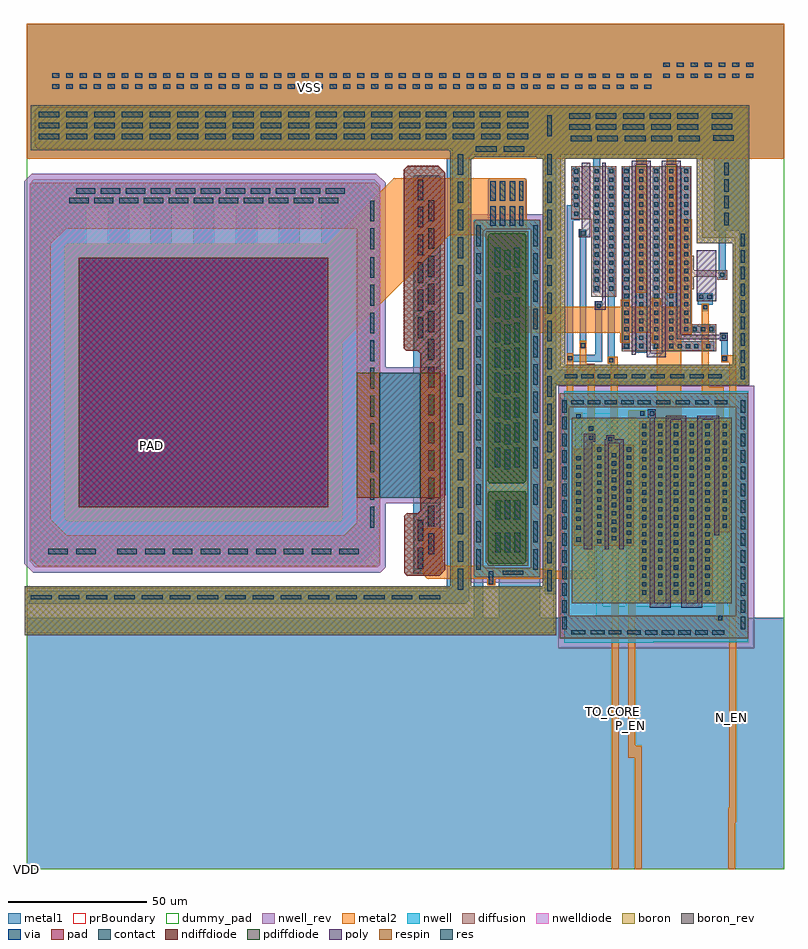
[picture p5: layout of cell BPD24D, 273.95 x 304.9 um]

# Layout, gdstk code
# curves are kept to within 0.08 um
import gdstk
lib = gdstk.Library(unit=1e-6, precision=1e-09)
def R(c, l, rs):  # rectangles x0, y0, x1, y1
    for r in rs: c.add(gdstk.rectangle(r[:2], r[2:], *l))
def A(c, l, x, y, w, h, nx, ny, dx, dy):  # array of equal rectangles
    R(c, l, [(x+i*dx, y+j*dy, x+i*dx+w, y+j*dy+h) for i in range(nx) for j in range(ny)])
def P(c, l, *ps):  # polygons
    for p in ps: c.add(gdstk.Polygon(p, *l))
nwell = (1, 0)
diffusion = (2, 0)
nwell_rev = (3, 0)
poly = (4, 0)
boron = (5, 0)
boron_rev = (6, 0)
contact = (7, 0)
metal1 = (8, 0)
via = (9, 0)
metal2 = (10, 0)
pad = (11, 0)
prBoundary = (28, 0)
res = (35, 0)
respin = (36, 0)
pdiffdiode = (37, 0)
nwelldiode = (38, 0)
ndiffdiode = (39, 0)
dummy_pad = (40, 0)

bpd24d = lib.new_cell('BPD24D')
P(bpd24d, nwell, [(161.5,105.25),(161.15,105.6),(161.15,233.95),(161.45,234.25),(185,234.25),(185.15,234.1),(185.15,105.6),(184.8,105.25)],
  [(3.15,108.95),(1.05,111.05),(1.05,247.25),(2.6,248.8),(125.25,248.8),(127.4,246.65),(127.4,179.652),(128.002,179.05),(147.45,179.05),(149.1,177.4),(149.1,135.7),(147.45,134.05),(128.058,134.05),(127.45,133.442),(127.45,109.75),(126.65,108.95)],
  [(193.7,81.7),(193.7,172.3),(260.2,172.3),(260.2,81.8),(225.95,81.8),(225.95,81.7)])
P(bpd24d, diffusion, [(192.1,83.4),(192.1,87.2),(192.15,87.2),(192.15,171.6),(255.65,171.6),(255.65,166.6),(195.65,166.6),(195.65,91.4),(255.65,91.4),(255.65,171.6),(260.2,171.6),(260.2,83.4)],
  [(3.95,109.3),(1.05,112.2),(1.05,246.563),(2.037,247.55),(119,247.55),(119,231),(14.214,231),(8.7,225.486),(8.7,126.204),(14.404,120.5),(114.449,120.5),(119,125.051),(119,247.55),(125.563,247.55),(127.35,245.763),(127.35,109.952),(126.698,109.3)],
  [(137.101,105.95),(136.1,106.951),(136.1,127.549),(136.951,128.4),(140.987,128.4),(141.85,129.263),(141.85,185.999),(140.849,187),(136.906,187),(136,187.906),(136,252.285),(137.365,253.65),(148.4,253.65),(150.9,251.15),(150.9,108.002),(148.848,105.95)],
  [(162.101,105.25),(161.15,106.201),(161.15,233.344),(162.056,234.25),(181.65,234.25),(181.65,230.75),(165.536,230.75),(164.65,229.864),(164.65,109.515),(165.415,108.75),(181.395,108.75),(181.65,109.005),(181.65,234.25),(184.95,234.25),(185.15,234.05),(185.15,106.052),(184.348,105.25)],
  [(0,85.15),(0,101.45),(153.45,101.45),(153.45,259.248),(152.848,259.85),(3.814,259.85),(2.85,260.814),(2.85,273.45),(4.05,274.65),(186.75,274.65),(186.75,257.65),(160.704,257.65),(159.55,256.496),(159.552,101.45),(186.295,101.45),(186.75,101.905),(186.75,274.65),(188.9,274.65),(190.25,273.3),(190.25,85.15)],
  [(220.9,96.6),(220.9,161.6),(253.4,161.6),(253.4,121.6),(247.4,121.6),(247.4,96.6)],
  [(167.105,110.25),(166.15,111.205),(166.15,135.6),(166.8,136.25),(179.65,136.25),(180.15,135.75),(180.15,111.15),(179.25,110.25)],
  [(214.45,186.7),(214.45,253.45),(239.65,253.45),(239.65,221.2),(240.55,221.2),(240.55,216.05),(252.5,216.05),(252.5,212.55),(249,212.55),(249,213.55),(240.5,213.55),(240.5,209.1),(239.65,209.1),(239.65,196.45),(248.55,196.45),(248.55,186.7)],
  [(166.752,139.25),(166.15,139.852),(166.15,228.35),(167.05,229.25),(179.448,229.25),(180.15,228.548),(180.15,140.156),(179.244,139.25)],
  [(187.35,175.15),(187.35,178.1),(188.85,178.1),(188.85,257.65),(183.35,257.65),(183.35,274.65),(243.5,274.65),(243.5,257.65),(192.6,257.65),(192.6,181.15),(255.25,181.15),(255.25,227.65),(243.5,227.65),(243.5,274.65),(259.85,274.65),(259.85,175.15)],
  [(197.2,116.6),(197.2,151.6),(204.4,151.6),(204.4,153.1),(218.9,153.1),(218.9,116.6)],
  [(203.6,206.4),(203.6,234.4),(196.4,234.4),(196.4,253.4),(212.45,253.4),(212.45,206.4)])
P(bpd24d, nwell_rev, [(160.672,103.25),(159.15,104.772),(159.15,234.778),(160.622,236.25),(185.828,236.25),(187.15,234.928),(187.15,104.772),(185.628,103.25)],
  [(2.322,106.95),(-0.95,110.222),(-0.95,248.078),(1.772,250.8),(126.078,250.8),(129.4,247.478),(129.4,181.05),(148.278,181.05),(151.1,178.228),(151.1,134.872),(148.278,132.05),(129.45,132.05),(129.45,108.922),(127.478,106.95)],
  [(191.7,79.7),(191.7,174.3),(262.2,174.3),(262.2,79.8),(227.95,79.8),(227.95,79.7)])
R(bpd24d, poly, [(241.5,204.75,248.5,223.15)])
P(bpd24d, poly, [(224.6,94.3),(224.6,162.9),(223.9,162.9),(223.9,165.8),(226.85,165.8),(226.85,162.9),(226.4,162.9),(226.4,96.1),(230.3,96.1),(230.3,163.6),(237.8,163.6),(237.8,96.1),(241.7,96.1),(241.7,163.6),(249.7,163.6),(249.7,120.4),(247.9,120.4),(247.9,162.1),(243.5,162.1),(243.5,94.3),(236,94.3),(236,162.1),(232.1,162.1),(232.1,94.3)],
  [(223.55,184.7),(223.55,253.95),(219.65,253.95),(219.65,185.5),(218.15,185.5),(218.15,255.45),(225.05,255.45),(225.05,186.2),(228.95,186.2),(228.95,255.45),(235.85,255.45),(235.85,192.65),(249.8,192.65),(249.8,193.45),(252.75,193.45),(252.75,190.55),(249.8,190.55),(249.8,191.15),(234.35,191.15),(234.35,253.95),(230.45,253.95),(230.45,184.7)],
  [(208.3,115.4),(208.3,155),(208.85,155),(208.85,156.5),(211.8,156.5),(211.8,155),(215.2,155),(215.2,115.4),(213.7,115.4),(213.7,153.6),(209.8,153.6),(209.8,115.4)],
  [(200.9,115.4),(200.9,157),(204.9,157),(204.9,154.1),(203.9,154.1),(203.9,115.4)],
  [(199.1,227.8),(199.1,230.7),(200.1,230.7),(200.1,254.65),(203.1,254.65),(203.1,227.8)],
  [(204.75,201.75),(204.75,204.85),(207.55,204.85),(207.55,254.65),(208.75,254.65),(208.75,201.75)])
R(bpd24d, boron, [(196.5,95.9,254.2,162.85)])
P(bpd24d, boron, [(-0.7,84.45),(-0.7,102.15),(152.75,102.15),(152.75,258.6),(152.2,259.15),(1.4,259.15),(1.4,275.45),(186.05,275.45),(186.05,256.95),(161.451,256.95),(160.25,255.749),(160.25,102.15),(185.7,102.15),(186.05,102.5),(186.05,275.45),(190.95,275.45),(190.95,84.45)],
  [(166.6,109.55),(165.45,110.7),(165.45,229.5),(165.9,229.95),(180.85,229.95),(180.85,109.55)],
  [(187.35,174.45),(187.35,178.8),(189.95,178.8),(189.95,256.2),(183.85,256.2),(183.85,275.45),(241.6,275.45),(241.6,256.2),(194.15,256.2),(194.15,181.85),(254.55,181.85),(254.55,225.7),(241.6,225.7),(241.6,275.45),(260.55,275.45),(260.55,174.45)])
R(bpd24d, boron_rev, [(196.5,95.9,254.2,162.85)])
P(bpd24d, boron_rev, [(-0.7,84.45),(-0.7,102.15),(152.75,102.15),(152.75,258.6),(152.2,259.15),(1.4,259.15),(1.4,275.45),(186.05,275.45),(186.05,256.95),(161.451,256.95),(160.25,255.749),(160.25,102.15),(185.7,102.15),(186.05,102.5),(186.05,275.45),(190.95,275.45),(190.95,84.45)],
  [(166.6,109.55),(165.45,110.7),(165.45,229.5),(165.9,229.95),(180.85,229.95),(180.85,109.55)],
  [(187.35,174.45),(187.35,178.8),(189.95,178.8),(189.95,256.2),(183.85,256.2),(183.85,275.45),(241.6,275.45),(241.6,256.2),(194.15,256.2),(194.15,181.85),(254.55,181.85),(254.55,225.7),(241.6,225.7),(241.6,275.45),(260.55,275.45),(260.55,174.45)])
A(bpd24d, contact, 193.15, 86.6, 1.5, 4.5, 1, 14, 0, 6)
A(bpd24d, contact, 257.45, 86.6, 1.5, 4.5, 1, 14, 0, 6)
A(bpd24d, contact, 1.55, 97.3, 7.5, 1.5, 15, 1, 10, 0)
A(bpd24d, contact, 221.9, 99.1, 1.5, 1.5, 5, 3, 5.7, 3)
A(bpd24d, contact, 187.75, 100.35, 1.5, 7.5, 1, 16, 0, 10)
A(bpd24d, contact, 155.45, 100.85, 2, 7.5, 1, 3, 0, 10)
A(bpd24d, contact, 227.6, 108.1, 1.5, 1.5, 1, 6, 0, 9)
A(bpd24d, contact, 239, 108.1, 1.5, 1.5, 1, 6, 0, 9)
A(bpd24d, contact, 221.9, 111.1, 1.5, 1.5, 5, 2, 5.7, 3)
A(bpd24d, contact, 32.75, 113.55, 7, 2, 9, 1, 10, 0)
A(bpd24d, contact, 168.85, 114.4, 2, 7, 3, 2, 3.5, 11.75)
A(bpd24d, contact, 205.6, 117.6, 1.5, 1.5, 1, 12, 0, 3)
A(bpd24d, contact, 216.4, 117.6, 1.5, 1.5, 1, 12, 0, 3)
A(bpd24d, contact, 221.9, 120.1, 1.5, 1.5, 5, 2, 5.7, 3)
A(bpd24d, contact, 250.9, 123.1, 1.5, 1.5, 1, 13, 0, 3)
A(bpd24d, contact, 123.85, 123.25, 1.5, 7.5, 1, 10, 0, 10)
A(bpd24d, contact, 144.85, 123.65, 2, 7.5, 1, 12, 0, 10)
A(bpd24d, contact, 211, 127.6, 1.5, 1.5, 1, 3, 0, 3)
A(bpd24d, contact, 221.9, 129.1, 1.5, 1.5, 5, 2, 5.7, 3)
A(bpd24d, contact, 155.45, 130.35, 2, 7.5, 1, 13, 0, 10)
A(bpd24d, contact, 221.9, 138.1, 1.5, 1.5, 5, 2, 5.7, 3)
A(bpd24d, contact, 172.25, 144.25, 2, 7, 1, 9, 0, 9)
A(bpd24d, contact, 162.15, 144.65, 1.5, 7.5, 1, 9, 0, 10)
A(bpd24d, contact, 182.65, 144.65, 1.5, 7.5, 1, 9, 0, 10)
A(bpd24d, contact, 168.75, 145.05, 2, 7, 1, 9, 0, 9)
A(bpd24d, contact, 175.75, 145.05, 2, 7, 1, 9, 0, 9)
A(bpd24d, contact, 221.9, 147.1, 1.5, 1.5, 5, 2, 5.7, 3)
A(bpd24d, contact, 221.9, 156.1, 1.5, 1.5, 5, 2, 5.7, 3)
A(bpd24d, contact, 196.3, 167.6, 4.5, 1.5, 4, 1, 6, 0)
A(bpd24d, contact, 226.95, 167.6, 5, 1.5, 3, 1, 7, 0)
A(bpd24d, contact, 257.35, 176.7, 1.5, 4.5, 1, 9, 0, 6)
A(bpd24d, contact, 193.9, 177, 4.5, 1.5, 4, 1, 6, 0)
A(bpd24d, contact, 218.05, 177, 5, 1.5, 4, 1, 7, 0)
A(bpd24d, contact, 234.65, 187.85, 1.5, 1.5, 3, 1, 3, 0)
A(bpd24d, contact, 215.45, 187.95, 1.5, 1.5, 4, 2, 5.4, 6)
A(bpd24d, contact, 220.85, 190.95, 1.5, 1.5, 1, 3, 0, 6)
A(bpd24d, contact, 231.65, 190.95, 1.5, 1.5, 1, 3, 0, 6)
A(bpd24d, contact, 141.05, 191.45, 2, 7.5, 1, 5, 0, 10)
A(bpd24d, contact, 240.05, 193.95, 1.5, 1.5, 3, 1, 3, 0)
A(bpd24d, contact, 215.45, 199.95, 1.5, 1.5, 5, 4, 5.4, 6)
A(bpd24d, contact, 215.45, 208.95, 1.5, 1.5, 3, 4, 10.8, 6)
A(bpd24d, contact, 204.8, 211.9, 1.5, 1.5, 1, 14, 0, 3)
A(bpd24d, contact, 209.95, 211.9, 1.5, 1.5, 1, 14, 0, 3)
A(bpd24d, contact, 215.45, 223.95, 1.5, 1.5, 4, 2, 5.4, 6)
A(bpd24d, contact, 251.5, 232.25, 1.5, 4.5, 1, 4, 0, 6)
A(bpd24d, contact, 215.45, 232.95, 1.5, 1.5, 5, 7, 5.4, 3)
A(bpd24d, contact, 197.4, 238.8, 1.5, 1.5, 1, 5, 0, 3)
A(bpd24d, contact, 15.3, 240.05, 7, 2, 11, 1, 9, 0)
A(bpd24d, contact, 17.8, 243.55, 7, 2, 10, 1, 9, 0)
A(bpd24d, contact, 4.3, 263.15, 7.5, 2, 14, 3, 10, 4)
A(bpd24d, contact, 143.8, 263.15, 7.5, 2, 1, 3, 0, 4)
A(bpd24d, contact, 173.3, 263.15, 7.5, 2, 1, 3, 0, 4)
R(bpd24d, contact, [(222.9,84.65,227.4,86.15), (228.9,84.65,233.45,86.15), (234.95,84.65,239.45,86.15), (241.05,84.65,245.55,86.15), (247.05,84.65,251.55,86.15), (196.35,84.7,201.3,86.2), (203.3,84.7,208.3,86.2), (209.8,84.7,214.4,86.2), (171.55,106.25,179.05,107.75), (162.15,108,163.65,115.5), (182.65,108,184.15,115.5), (141.05,108.4,143.05,115.9), (7.85,113.55,14.85,115.55), (17.85,113.55,24.85,115.55), (162.15,118,163.65,125.5), (182.65,118,184.15,125.5), (198.2,118.2,199.7,119.7), (141.05,118.45,143.05,125.95), (211,118.6,212.5,120.1), (211,121.6,212.5,123.1), (198.2,122.4,199.7,123.9), (198.2,125.65,199.7,127.15), (198.2,128.85,199.7,130.35), (162.15,131.4,163.65,138.9), (182.65,131.4,184.15,138.9), (198.2,131.85,199.7,133.35), (198.2,135.05,199.7,136.55), (198.2,138.05,199.7,139.55), (211,139.6,212.5,141.1), (198.2,141.25,199.7,142.75), (211,142.6,212.5,144.1), (198.2,144.25,199.7,145.75), (198.2,147.45,199.7,148.95), (211,148.6,212.5,150.1), (209.6,154.3,211.1,155.8), (202.7,154.8,204.2,156.3), (224.65,163.6,226.15,165.1), (220.3,167.6,224.95,169.1), (247.95,167.6,252.55,169.1), (245.65,177,250.55,178.5), (245,187.85,246.5,189.35), (250.55,191.25,252.05,192.75), (237.05,196.95,238.55,198.45), (205.45,202.45,206.95,203.95), (242.4,205.7,243.9,207.2), (245.4,205.7,246.9,207.2), (204.8,208.65,206.3,210.15), (209.95,208.65,211.45,210.15), (250,213.55,251.5,215.05), (123.85,223.6,125.35,231.1), (199.8,228.5,201.3,230), (123.85,233.6,125.35,241.1), (197.4,235.55,198.9,237.05), (141.05,241.15,143.05,248.65), (107.8,243.55,114.7,245.55), (161.95,258.65,169.45,260.65), (171.95,258.65,179.45,260.65), (196.15,262.55,203.65,264.55), (205.65,262.55,213.15,264.55), (215.65,262.55,223.15,264.55), (225.15,262.55,232.65,264.55), (235.15,262.55,242.65,264.55), (247.45,262.65,254.95,264.65), (153.65,263.15,161.3,265.15), (163.8,263.15,170.8,265.15), (187.75,264.35,189.25,271.85), (195.6,266.55,203.1,268.55), (205.1,266.55,212.6,268.55), (214.95,266.55,222.6,268.55), (225.1,266.55,232.1,268.55), (234.6,266.55,242.1,268.55), (246.9,266.65,254.4,268.65), (153.65,267.15,161.3,269.15), (163.8,267.15,170.8,269.15), (195.6,270.55,203.1,272.55), (205.1,270.55,212.6,272.55), (215.1,270.55,222.6,272.55), (224.6,270.55,232.1,272.55), (234.6,270.55,242.1,272.55), (246.9,270.65,254.4,272.65), (153.8,271.15,161.3,273.15), (163.3,271.15,170.8,273.15)])
P(bpd24d, contact, [(219.8,84.65),(219.8,84.7),(216.5,84.7),(216.5,86.2),(220.5,86.2),(220.5,86.15),(221.3,86.15),(221.3,84.65)])
A(bpd24d, metal1, 221.4, 98.6, 2.5, 62.5, 3, 1, 11.4, 0)
R(bpd24d, metal1, [(0,0,273,90.7), (210.5,118.1,213,151.7), (202.2,154.3,204.7,160.2), (220.7,163.1,226.7,165.6), (209.45,182.3,211.95,252.9), (214.95,187.45,217.45,252.95), (225.75,187.45,228.25,252.95), (199.3,187.6,201.8,230.5), (0,256.2,273,304.9)])
P(bpd24d, metal1, [(0.75,95.85),(0.75,100.5),(151.35,100.5),(151.35,256.2),(0,256.2),(0,304.9),(231,304.9),(231,256.2),(190.95,256.2),(190.95,99.3),(190.85,99.2),(186.85,99.2),(186.75,99.3),(186.75,255.344),(185.894,256.2),(160.252,256.2),(159.55,255.498),(159.55,97.066),(158.334,95.85)],
  [(188.15,175.55),(188.15,180.2),(256.85,180.2),(256.85,230.15),(252,230.15),(252,213.05),(249.5,213.05),(249.5,230.15),(247.9,230.15),(247.9,256.2),(234.15,256.2),(234.15,190.3),(247.85,190.3),(247.85,186.95),(230.65,186.95),(230.65,256.2),(223.45,256.2),(223.45,186.2),(219.75,186.2),(219.75,256.2),(206.8,256.2),(206.8,208.1),(204.3,208.1),(204.3,256.2),(190.05,256.2),(190.05,256.25),(183.7,256.25),(183.7,256.2),(0,256.2),(0,304.9),(273,304.9),(273,256.2),(259.35,256.2),(259.35,175.55)],
  [(0,0),(0,90.7),(160.689,90.7),(161.15,91.161),(161.15,233.85),(161.55,234.25),(164.197,234.25),(164.65,233.797),(164.65,91.05),(165,90.7),(169.7,90.7),(170.15,91.15),(170.15,108.248),(170.652,108.75),(181.395,108.75),(181.65,109.005),(181.65,233.847),(182.053,234.25),(184.8,234.25),(185.15,233.9),(185.15,91.202),(185.652,90.7),(231,90.7),(231,0)],
  [(2.45,110.8),(1.75,111.5),(1.75,245.949),(3.351,247.55),(29.2,247.55),(29.2,238.55),(21.5,238.55),(21.5,225.55),(29.2,225.55),(29.2,247.55),(44.6,247.55),(44.6,238.55),(36.9,238.55),(36.9,225.55),(44.6,225.55),(44.6,247.55),(60,247.55),(60,238.55),(52.3,238.55),(52.3,225.55),(60,225.55),(60,247.55),(75.4,247.55),(75.4,238.55),(67.7,238.55),(67.7,225.55),(75.4,225.55),(75.4,247.55),(90.8,247.55),(90.8,238.55),(83.1,238.55),(83.1,225.55),(90.8,225.55),(90.8,247.55),(106.2,247.55),(106.2,238.55),(98.5,238.55),(98.5,225.55),(106.2,225.55),(106.2,247.55),(121.25,247.55),(127.4,241.4),(127.4,214),(127.3,214),(127.35,116.437),(121.713,110.8)],
  [(139.35,106.65),(139.35,249.685),(139.915,250.25),(148.548,250.25),(149.35,249.448),(149.35,106.65)],
  [(0,0),(0,90.7),(190.052,90.7),(190.952,89.8),(192.65,89.8),(192.65,169.65),(195.15,169.65),(195.15,170.5),(256.15,170.5),(256.15,167.1),(195.15,167.1),(195.15,90.7),(205.1,90.7),(205.1,152.6),(207.6,152.6),(207.6,94.9),(215.9,94.9),(215.9,152.65),(218.4,152.65),(218.4,94.9),(227.1,94.9),(227.1,161.1),(229.6,161.1),(229.6,94.9),(238.5,94.9),(238.5,161.1),(241,161.1),(241,94.9),(250.4,94.9),(250.4,161.1),(252.9,161.1),(252.9,94.9),(256.15,94.9),(256.15,170.5),(259.85,170.5),(259.85,90.7),(273,90.7),(273,0)],
  [(166.15,102.35),(166.15,135.394),(166.157,135.412),(166.237,135.531),(166.956,136.25),(179.348,136.25),(180.15,135.448),(180.15,111.27),(179.13,110.25),(169.601,110.25),(168.65,109.299),(168.65,102.35)],
  [(166.75,139.25),(166.15,139.85),(166.15,248.498),(166.802,249.15),(179.747,249.15),(180.115,248.782),(180.15,248.697),(180.15,140.156),(179.244,139.25)],
  [(194.6,182.95),(194.6,239.35),(196.9,239.35),(196.9,252.85),(199.4,252.85),(199.4,234),(197.1,234),(197.1,185.45),(204.95,185.45),(204.95,204.65),(207.45,204.65),(207.45,182.95)],
  [(250.3,182.9),(250.3,190.75),(250.05,190.75),(250.05,193.25),(252.8,193.25),(252.8,182.9)],
  [(197.7,117.7),(197.7,164.6),(211.6,164.6),(211.6,153.8),(209.1,153.8),(209.1,162.1),(200.2,162.1),(200.2,117.7)],
  [(236.05,193.45),(236.05,252.95),(239.45,252.95),(239.45,196),(248.05,196),(248.05,193.45)],
  [(243.35,201.2),(243.35,203.5),(241.9,203.5),(241.9,207.7),(247.4,207.7),(247.4,203.5),(245.85,203.5),(245.85,201.2)])
A(bpd24d, via, 221.9, 108.1, 1.5, 1.5, 3, 6, 11.4, 9)
A(bpd24d, via, 215.45, 202.95, 1.5, 1.5, 3, 1, 10.8, 0)
A(bpd24d, via, 220.85, 208.95, 1.5, 1.5, 1, 4, 0, 6)
A(bpd24d, via, 231.65, 208.95, 1.5, 1.5, 1, 4, 0, 6)
A(bpd24d, via, 182.7, 281.4, 2.5, 1.5, 9, 2, 5, 4)
A(bpd24d, via, 9.2, 281.45, 2.5, 1.5, 27, 2, 5, 4)
A(bpd24d, via, 143.7, 281.45, 2.5, 1.5, 4, 2, 5, 4)
A(bpd24d, via, 163.2, 281.45, 2.5, 1.5, 4, 2, 5, 4)
A(bpd24d, via, 229.4, 285.3, 2.5, 1.5, 7, 2, 5, 4)
R(bpd24d, via, [(249.25,89.9,250.75,91.4), (166.65,102.85,168.15,107.5), (144.85,113.65,146.85,121.15), (211,124.6,212.5,126.1), (18.8,130.55,108.8,220.55), (211,136.6,212.5,138.1), (211,145.6,212.5,147.1), (202.7,158.2,204.2,159.7), (198.2,162.6,199.7,164.1), (221.2,163.6,222.7,165.1), (209.95,182.8,211.45,184.3), (250.8,183.4,252.3,184.9), (195.1,183.45,196.6,184.95), (199.8,188.1,201.3,189.6), (215.45,190.95,216.95,192.45), (226.25,190.95,227.75,192.45), (237.05,193.95,238.55,195.45), (215.45,196.95,216.95,198.45), (226.25,196.95,227.75,198.45), (243.85,201.95,245.35,203.45), (237.05,223.95,238.55,225.45), (237.05,229.95,238.55,231.45), (167.05,232.05,169.05,239.05), (170.6,232.05,172.6,239.05), (174.1,232.05,176.1,239.05), (177.6,232.05,179.1,239.05), (167.05,241.05,169.05,248.05), (170.6,241.05,172.6,248.05), (174.1,241.05,176.1,248.05), (177.6,241.05,179.1,248.05)])
P(bpd24d, metal2, [(194.6,162.1),(194.6,186.1),(197.1,186.1),(197.1,164.6),(200.2,164.6),(200.2,162.1)],
  [(219.25,0),(219.25,40.3),(216.9,40.3),(216.9,165.6),(223.2,165.6),(223.2,163.1),(219.4,163.1),(219.4,44.5),(221.75,44.5),(221.75,0)],
  [(210.85,0),(210.85,123.6),(210.5,123.6),(210.5,182.3),(209.45,182.3),(209.45,184.8),(213,184.8),(213,149.2),(213.35,149.2),(213.35,0)],
  [(14.751,125.55),(13.8,126.501),(13.8,224.7),(14.65,225.55),(108.749,225.55),(132.15,248.951),(132.15,249.15),(179.547,249.15),(180.2,248.497),(180.2,229.8),(179,228.6),(152.298,228.6),(113.8,190.118),(113.8,126.352),(112.998,125.55)],
  [(252.85,0),(252.85,22.25),(253.3,22.25),(253.3,182.9),(250.3,182.9),(250.3,185.4),(255.8,185.4),(255.8,16.95),(255.35,16.95),(255.35,0)],
  [(219.75,207.8),(219.75,256.2),(0,256.2),(0,304.9),(273,304.9),(273,256.2),(234.15,256.2),(234.15,207.8),(230.65,207.8),(230.65,256.2),(223.45,256.2),(223.45,207.8)],
  [(166.15,102.35),(165.95,102.55),(165.95,104.6),(165.7,104.85),(144.453,104.85),(142.8,106.503),(142.8,122.548),(143.302,123.05),(149.298,123.05),(149.8,122.548),(149.8,111.101),(151.351,109.55),(168.05,109.55),(169.202,108.3),(189.65,108.3),(189.65,107.75),(202.2,107.75),(202.2,179.7),(199.3,179.7),(199.3,190.55),(201.8,190.55),(201.8,182.2),(204.7,182.2),(204.7,104.75),(169.05,104.75),(168.95,104.65),(168.95,102.45),(168.85,102.35)],
  [(221.4,107.6),(221.4,155.1),(227.05,155.1),(227.05,189.6),(225.25,189.6),(225.25,193.5),(217.45,193.5),(217.45,189.8),(214.05,189.8),(214.05,193.5),(167.188,193.5),(166.35,194.338),(166.35,226.85),(164.35,228.85),(156.2,228.85),(156.2,233.65),(180.2,233.65),(180.2,229.8),(178.45,228.05),(178.45,202.9),(214.1,202.9),(214.1,205.4),(217.45,205.4),(217.45,202.9),(225.25,202.9),(225.25,205.95),(228.6,205.95),(228.6,202.85),(236.05,202.85),(236.05,234.3),(239.75,234.3),(239.75,193),(235.95,193),(235.95,155.1),(246.7,155.1),(246.7,107.6),(243.8,107.6),(243.8,149.4),(235.75,149.4),(235.75,107.6),(232.45,107.6),(232.45,149.3),(224.4,149.3),(224.4,107.6)],
  [(248.75,89.4),(248.75,171.1),(243.35,171.1),(243.35,203.95),(245.85,203.95),(245.85,173.9),(251.2,173.9),(251.2,173.8),(251.25,173.8),(251.25,89.4)])
R(bpd24d, pad, [(18.8,130.55,108.8,220.55)])
R(bpd24d, prBoundary, [(0,0,273,304.9)])
R(bpd24d, res, [(127.35,134.05,141.85,179.05)])
R(bpd24d, respin, [(119,134.05,127.35,179.05), (141.85,134.05,149.1,179.05)])
P(bpd24d, pdiffdiode, [(167.105,110.25),(166.15,111.205),(166.15,135.6),(166.8,136.25),(179.65,136.25),(180.15,135.75),(180.15,111.15),(179.25,110.25)],
  [(166.752,139.25),(166.15,139.852),(166.15,228.35),(167.05,229.25),(179.448,229.25),(180.15,228.548),(180.15,140.156),(179.244,139.25)])
P(bpd24d, nwelldiode, [(3.15,108.95),(1.05,111.05),(1.05,247.25),(2.6,248.8),(125.25,248.8),(127.4,246.65),(127.4,179.652),(128.002,179.05),(147.45,179.05),(149.1,177.4),(149.1,135.7),(147.45,134.05),(128.058,134.05),(127.45,133.442),(127.45,109.75),(126.65,108.95)])
P(bpd24d, ndiffdiode, [(137.101,105.95),(136.1,106.951),(136.1,127.549),(136.951,128.4),(140.987,128.4),(141.85,129.263),(141.85,185.999),(140.849,187),(136.906,187),(136,187.906),(136,252.285),(137.365,253.65),(148.4,253.65),(150.9,251.15),(150.9,108.002),(148.848,105.95)])
R(bpd24d, dummy_pad, [(0,0,273,304.9)])
bpd24d.add(gdstk.Label('TO_CORE', (211.4,57.1), layer=10, texttype=7))
bpd24d.add(gdstk.Label('N_EN', (254.1,54.75), layer=10, texttype=7))
bpd24d.add(gdstk.Label('VSS', (102,281.801), layer=10, texttype=7))
bpd24d.add(gdstk.Label('P_EN', (217.6,52.05), layer=10, texttype=7))
bpd24d.add(gdstk.Label('PAD', (45.1,152.7), layer=10, texttype=7))
bpd24d.add(gdstk.Label('VDD', (0.001,0.001), layer=8, texttype=7))

lib.write_gds('BPD24D.gds')
